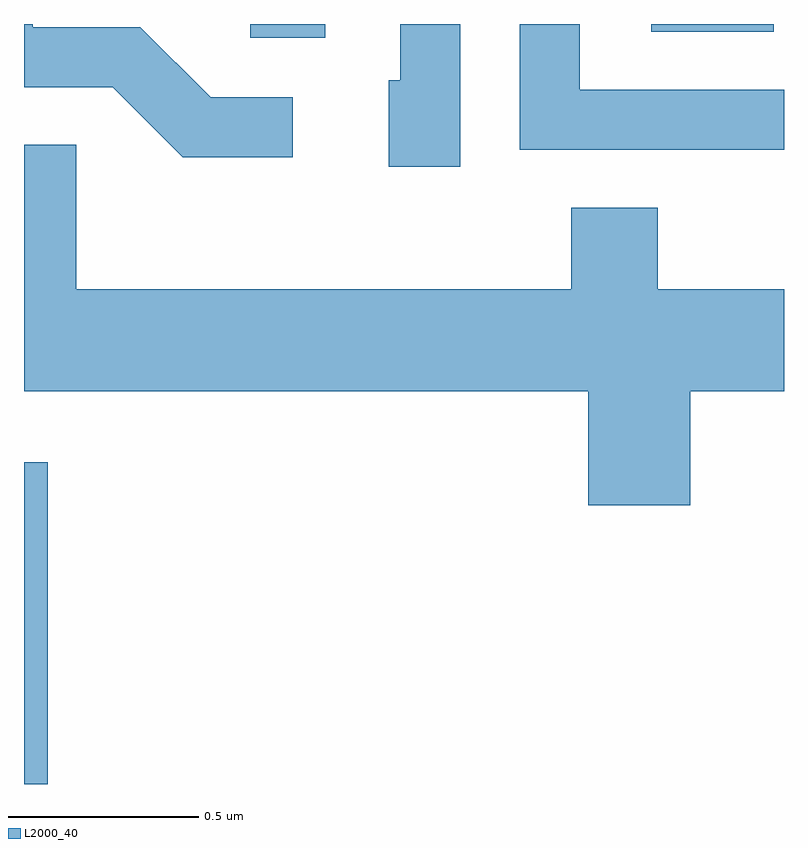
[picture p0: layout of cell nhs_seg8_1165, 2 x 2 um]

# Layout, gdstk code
import gdstk
lib = gdstk.Library(unit=1e-6, precision=1e-09)
def R(c, l, rs):  # rectangles x0, y0, x1, y1
    for r in rs: c.add(gdstk.rectangle(r[:2], r[2:], *l))
def P(c, l, *ps):  # polygons
    for p in ps: c.add(gdstk.Polygon(p, *l))
L2000_40 = (2000, 40)

nhs_seg8_1165 = lib.new_cell('nhs_seg8_1165')
R(nhs_seg8_1165, L2000_40, [(193.611,1875.342,193.674,1876.189), (194.206,1877.306,194.404,1877.342), (195.261,1877.321,195.584,1877.342)])
P(nhs_seg8_1165, L2000_40, [(194.318,1877.149),(194.102,1877.149),(193.917,1877.334),(193.634,1877.334),(193.634,1877.342),(193.611,1877.342),(193.611,1877.176),(193.844,1877.176),(194.029,1876.991),(194.318,1876.991)],
  [(194.759,1877.342),(194.601,1877.342),(194.601,1877.194),(194.571,1877.194),(194.571,1876.966),(194.759,1876.966)],
  [(195.611,1877.169),(195.074,1877.169),(195.074,1877.342),(194.916,1877.342),(194.916,1877.011),(195.611,1877.011)],
  [(195.364,1876.376),(195.611,1876.376),(195.611,1876.644),(195.279,1876.644),(195.279,1876.859),(195.051,1876.859),(195.051,1876.644),(193.749,1876.644),(193.749,1877.024),(193.611,1877.024),(193.611,1876.376),(195.096,1876.376),(195.096,1876.076),(195.364,1876.076)])

lib.write_gds('nhs_seg8_1165.gds')
